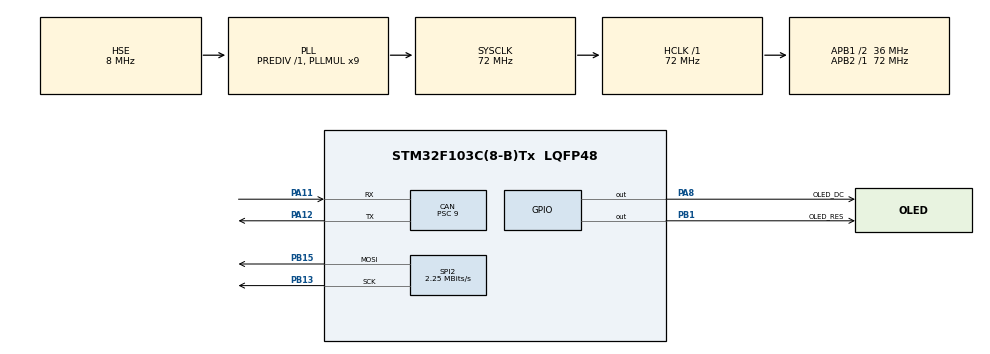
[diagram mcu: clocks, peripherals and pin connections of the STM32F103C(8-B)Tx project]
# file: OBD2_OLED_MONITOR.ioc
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CAN.BS1=CAN_BS1_3TQ
CAN.BS2=CAN_BS2_4TQ
CAN.CalculateBaudRate=500000
CAN.CalculateTimeBit=2000
CAN.CalculateTimeQuantum=250.0
CAN.Prescaler=9
CAN.TXFP=ENABLE
Mcu.Family=STM32F1
Mcu.Name=STM32F103C(8-B)Tx
Mcu.Package=LQFP48
NVIC.PriorityGroup=NVIC_PRIORITYGROUP_4
NVIC.TIM2_IRQn=true\:0\:0\:false\:false\:true\:true\:true\:true
NVIC.USB_HP_CAN1_TX_IRQn=true\:0\:0\:false\:false\:true\:true\:true\:true
NVIC.USB_LP_CAN1_RX0_IRQn=true\:0\:0\:false\:false\:true\:true\:true\:true
PA11.Mode=CAN_Activate
PA11.Signal=CAN_RX
PA12.Mode=CAN_Activate
PA12.Signal=CAN_TX
PA13.Mode=Trace_Asynchronous_SW
PA13.Signal=SYS_JTMS-SWDIO
PA14.Mode=Trace_Asynchronous_SW
PA14.Signal=SYS_JTCK-SWCLK
PA8.GPIO_Label=OLED_DC
PA8.Signal=GPIO_Output
PB1.GPIO_Label=OLED_RES
PB1.Signal=GPIO_Output
PB13.Mode=TX_Only_Simplex_Unidirect_Master
PB13.Signal=SPI2_SCK
PB15.Mode=TX_Only_Simplex_Unidirect_Master
PB15.Signal=SPI2_MOSI
PB3.Mode=Trace_Asynchronous_SW
PB3.Signal=SYS_JTDO-TRACESWO
PD0-OSC_IN.Mode=HSE-External-Oscillator
PD0-OSC_IN.Signal=RCC_OSC_IN
PD1-OSC_OUT.Mode=HSE-External-Oscillator
PD1-OSC_OUT.Signal=RCC_OSC_OUT
ProjectManager.HeapSize=0x200
ProjectManager.StackSize=0x400
ProjectManager.TargetToolchain=STM32CubeIDE
RCC.AHBFreq_Value=72000000
RCC.APB1CLKDivider=RCC_HCLK_DIV2
RCC.APB1Freq_Value=36000000
RCC.APB1TimFreq_Value=72000000
RCC.APB2Freq_Value=72000000
RCC.APB2TimFreq_Value=72000000
RCC.HCLKFreq_Value=72000000
RCC.PLLMUL=RCC_PLL_MUL9
RCC.PLLSourceVirtual=RCC_PLLSOURCE_HSE
RCC.SYSCLKFreq_VALUE=72000000
RCC.SYSCLKSource=RCC_SYSCLKSOURCE_PLLCLK
RCC.USBFreq_Value=72000000
SPI2.BaudRatePrescaler=SPI_BAUDRATEPRESCALER_16
SPI2.CalculateBaudRate=2.25 MBits/s
SPI2.Direction=SPI_DIRECTION_2LINES
SPI2.Mode=SPI_MODE_MASTER
SPI2.VirtualType=VM_MASTER
TIM2.AutoReloadPreload=TIM_AUTORELOAD_PRELOAD_ENABLE
TIM2.Period=50000
TIM2.Prescaler=719
VP_TIM2_VS_ClockSourceINT.Mode=Internal
board=custom

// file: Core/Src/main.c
/* USER CODE BEGIN Header */
/**
  ******************************************************************************
  * @file           : main.c
  * @brief          : Main program body
  ******************************************************************************
  * @attention
  *
  * Copyright (c) 2024 STMicroelectronics.
  * All rights reserved.
  *
  * This software is licensed under terms that can be found in the LICENSE file
  * in the root directory of this software component.
  * If no LICENSE file comes with this software, it is provided AS-IS.
  *
  ******************************************************************************
  */
/* USER CODE END Header */
#include "main.h"

/* USER CODE BEGIN Includes */
#include <string.h>
#include <math.h>
#include <stdlib.h>
#include "obd2.h"
#include "printf.h"
#include "global_vars.h"
/* USER CODE END Includes */

CAN_HandleTypeDef hcan;

SPI_HandleTypeDef hspi2;

TIM_HandleTypeDef htim2;

/* USER CODE BEGIN PV */
u8g2_t u8g2;
Bool OBD2_NEED_NEXT_REQUEST = TRUE;
/* USER CODE END PV */

void SystemClock_Config(void);
static void MX_GPIO_Init(void);
static void MX_CAN_Init(void);
static void MX_SPI2_Init(void);
static void MX_TIM2_Init(void);
/* USER CODE BEGIN PFP */

void valueHandler(uint8_t index, int16_t value);
/* USER CODE END PFP */

/* USER CODE BEGIN 0 */
void _putchar(char character)
{
  // send char to console etc.
	ITM_SendChar(character);
}
/* USER CODE END 0 */

int main(void)
{

  /* MCU Configuration--------------------------------------------------------*/

  /* Reset of all peripherals, Initializes the Flash interface and the Systick. */
  HAL_Init();

  /* Configure the system clock */
  SystemClock_Config();

  /* Initialize all configured peripherals */
  MX_GPIO_Init();
  MX_CAN_Init();
  MX_SPI2_Init();
  MX_TIM2_Init();
  /* USER CODE BEGIN 2 */
  CAN_FilterTypeDef canFilterConfig;
  canFilterConfig.FilterBank = 0;
  canFilterConfig.FilterMode = CAN_FILTERMODE_IDMASK;
  canFilterConfig.FilterScale = CAN_FILTERSCALE_32BIT;
  canFilterConfig.FilterIdHigh = 0x07E8<<5; // Filter IDs from 0x7E8
  canFilterConfig.FilterIdLow = 0x0000;
  canFilterConfig.FilterMaskIdHigh = 0x07FE<<5; // Filter IDs 0x7E8, 0x7E9 (Engine, Transmission)
  canFilterConfig.FilterMaskIdLow = 0x0000;
  canFilterConfig.FilterFIFOAssignment = CAN_RX_FIFO0;
  canFilterConfig.FilterActivation = ENABLE;
  canFilterConfig.SlaveStartFilterBank = 14;
  HAL_CAN_ConfigFilter(&hcan, &canFilterConfig);
  HAL_CAN_Start(&hcan);
  HAL_CAN_ActivateNotification(&hcan, CAN_IT_RX_FIFO0_MSG_PENDING);
  HAL_TIM_Base_Start_IT(&htim2);

  if (DISPLAY == SSD1322) {
	  u8g2_Setup_ssd1322_nhd_256x64_f(&u8g2, U8G2_R0, u8x8_byte_4wire_hw_spi, u8x8_stm32_gpio_and_delay);
  }
  else if (DISPLAY == SD1122) {
	  u8g2_Setup_sh1122_256x64_f(&u8g2, U8G2_R0, u8x8_byte_4wire_hw_spi, u8x8_stm32_gpio_and_delay); //
  }

  u8g2_InitDisplay(&u8g2);
  u8g2_SetPowerSave(&u8g2, 0);

  printf("START\n");

  u8g2_ClearBuffer(&u8g2);
  u8g2_DrawXBM(&u8g2, 0, 0, 256, 64, Logo);
  u8g2_SendBuffer(&u8g2);
  /* USER CODE END 2 */

  /* Infinite loop */
  while (1)
  {

    /* USER CODE BEGIN 3 */

	if (OBD2_NEED_NEXT_REQUEST) {
		OBD2_NEED_NEXT_REQUEST = FALSE;
		HAL_Delay(2);
		obd2_NextRequest();
	}
  }
  /* USER CODE END 3 */
}

void SystemClock_Config(void)
{
  RCC_OscInitTypeDef RCC_OscInitStruct = {0};
  RCC_ClkInitTypeDef RCC_ClkInitStruct = {0};

  /** Initializes the RCC Oscillators according to the specified parameters
  * in the RCC_OscInitTypeDef structure.
  */
  RCC_OscInitStruct.OscillatorType = RCC_OSCILLATORTYPE_HSE;
  RCC_OscInitStruct.HSEState = RCC_HSE_ON;
  RCC_OscInitStruct.HSEPredivValue = RCC_HSE_PREDIV_DIV1;
  RCC_OscInitStruct.HSIState = RCC_HSI_ON;
  RCC_OscInitStruct.PLL.PLLState = RCC_PLL_ON;
  RCC_OscInitStruct.PLL.PLLSource = RCC_PLLSOURCE_HSE;
  RCC_OscInitStruct.PLL.PLLMUL = RCC_PLL_MUL9;
  if (HAL_RCC_OscConfig(&RCC_OscInitStruct) != HAL_OK)
  {
    Error_Handler();
  }

  /** Initializes the CPU, AHB and APB buses clocks
  */
  RCC_ClkInitStruct.ClockType = RCC_CLOCKTYPE_HCLK|RCC_CLOCKTYPE_SYSCLK
                              |RCC_CLOCKTYPE_PCLK1|RCC_CLOCKTYPE_PCLK2;
  RCC_ClkInitStruct.SYSCLKSource = RCC_SYSCLKSOURCE_PLLCLK;
  RCC_ClkInitStruct.AHBCLKDivider = RCC_SYSCLK_DIV1;
  RCC_ClkInitStruct.APB1CLKDivider = RCC_HCLK_DIV2;
  RCC_ClkInitStruct.APB2CLKDivider = RCC_HCLK_DIV1;

  if (HAL_RCC_ClockConfig(&RCC_ClkInitStruct, FLASH_LATENCY_2) != HAL_OK)
  {
    Error_Handler();
  }
}

static void MX_CAN_Init(void)
{

  hcan.Instance = CAN1;
  hcan.Init.Prescaler = 9;
  hcan.Init.Mode = CAN_MODE_NORMAL;
  hcan.Init.SyncJumpWidth = CAN_SJW_1TQ;
  hcan.Init.TimeSeg1 = CAN_BS1_3TQ;
  hcan.Init.TimeSeg2 = CAN_BS2_4TQ;
  hcan.Init.TimeTriggeredMode = DISABLE;
  hcan.Init.AutoBusOff = DISABLE;
  hcan.Init.AutoWakeUp = DISABLE;
  hcan.Init.AutoRetransmission = DISABLE;
  hcan.Init.ReceiveFifoLocked = DISABLE;
  hcan.Init.TransmitFifoPriority = ENABLE;
  if (HAL_CAN_Init(&hcan) != HAL_OK)
  {
    Error_Handler();
  }

}

static void MX_SPI2_Init(void)
{

  /* SPI2 parameter configuration*/
  hspi2.Instance = SPI2;
  hspi2.Init.Mode = SPI_MODE_MASTER;
  hspi2.Init.Direction = SPI_DIRECTION_2LINES;
  hspi2.Init.DataSize = SPI_DATASIZE_8BIT;
  hspi2.Init.CLKPolarity = SPI_POLARITY_LOW;
  hspi2.Init.CLKPhase = SPI_PHASE_1EDGE;
  hspi2.Init.NSS = SPI_NSS_SOFT;
  hspi2.Init.BaudRatePrescaler = SPI_BAUDRATEPRESCALER_16;
  hspi2.Init.FirstBit = SPI_FIRSTBIT_MSB;
  hspi2.Init.TIMode = SPI_TIMODE_DISABLE;
  hspi2.Init.CRCCalculation = SPI_CRCCALCULATION_DISABLE;
  hspi2.Init.CRCPolynomial = 10;
  if (HAL_SPI_Init(&hspi2) != HAL_OK)
  {
    Error_Handler();
  }

}

static void MX_TIM2_Init(void)
{

  TIM_ClockConfigTypeDef sClockSourceConfig = {0};
  TIM_MasterConfigTypeDef sMasterConfig = {0};

  htim2.Instance = TIM2;
  htim2.Init.Prescaler = 719;
  htim2.Init.CounterMode = TIM_COUNTERMODE_UP;
  htim2.Init.Period = 50000;
  htim2.Init.ClockDivision = TIM_CLOCKDIVISION_DIV1;
  htim2.Init.AutoReloadPreload = TIM_AUTORELOAD_PRELOAD_ENABLE;
  if (HAL_TIM_Base_Init(&htim2) != HAL_OK)
  {
    Error_Handler();
  }
  sClockSourceConfig.ClockSource = TIM_CLOCKSOURCE_INTERNAL;
  if (HAL_TIM_ConfigClockSource(&htim2, &sClockSourceConfig) != HAL_OK)
  {
    Error_Handler();
  }
  sMasterConfig.MasterOutputTrigger = TIM_TRGO_RESET;
  sMasterConfig.MasterSlaveMode = TIM_MASTERSLAVEMODE_DISABLE;
  if (HAL_TIMEx_MasterConfigSynchronization(&htim2, &sMasterConfig) != HAL_OK)
  {
    Error_Handler();
  }

}

static void MX_GPIO_Init(void)
{
  GPIO_InitTypeDef GPIO_InitStruct = {0};

  /* GPIO Ports Clock Enable */
  __HAL_RCC_GPIOD_CLK_ENABLE();
  __HAL_RCC_GPIOB_CLK_ENABLE();
  __HAL_RCC_GPIOA_CLK_ENABLE();

  /*Configure GPIO pin Output Level */
  HAL_GPIO_WritePin(OLED_RES_GPIO_Port, OLED_RES_Pin, GPIO_PIN_RESET);

  /*Configure GPIO pin Output Level */
  HAL_GPIO_WritePin(OLED_DC_GPIO_Port, OLED_DC_Pin, GPIO_PIN_RESET);

  /*Configure GPIO pin : OLED_RES_Pin */
  GPIO_InitStruct.Pin = OLED_RES_Pin;
  GPIO_InitStruct.Mode = GPIO_MODE_OUTPUT_PP;
  GPIO_InitStruct.Pull = GPIO_NOPULL;
  GPIO_InitStruct.Speed = GPIO_SPEED_FREQ_LOW;
  HAL_GPIO_Init(OLED_RES_GPIO_Port, &GPIO_InitStruct);

  /*Configure GPIO pin : OLED_DC_Pin */
  GPIO_InitStruct.Pin = OLED_DC_Pin;
  GPIO_InitStruct.Mode = GPIO_MODE_OUTPUT_PP;
  GPIO_InitStruct.Pull = GPIO_NOPULL;
  GPIO_InitStruct.Speed = GPIO_SPEED_FREQ_LOW;
  HAL_GPIO_Init(OLED_DC_GPIO_Port, &GPIO_InitStruct);

}

/* USER CODE BEGIN 4 */
// Timer interrupt every 0.5 seconds
void HAL_TIM_PeriodElapsedCallback(TIM_HandleTypeDef* htim2)
{
	// If there is no response for more than 0.5 second, then make the next request
	if (obd2_getLastRequestTime() + 500 < HAL_GetTick()) {
		OBD2_NEED_NEXT_REQUEST = TRUE;
	}
}

// Receive CAN packet
void HAL_CAN_RxFifo0MsgPendingCallback(CAN_HandleTypeDef *hcan)
{
	uint8_t RxData[8];
	CAN_RxHeaderTypeDef	RxHeader;
	HAL_CAN_GetRxMessage(hcan, CAN_RX_FIFO0, &RxHeader, RxData);

	#ifdef DEBUG
	printf("%08lu RxData: %03lX [%lu] ",HAL_GetTick(), RxHeader.StdId, RxHeader.DLC);
	for (int i = 0; i < RxHeader.DLC; i++) {
		printf("%02X ",RxData[i]);
	}
	printf("\n");
	#endif

	// Check Engine Response ID
	if (RxHeader.StdId == 0x7E8) {
		obd2_Handler(RxData, GET_SIZE(RxData));
	}

}
// Oled display function
uint8_t u8x8_stm32_gpio_and_delay(U8X8_UNUSED u8x8_t *u8x8, U8X8_UNUSED uint8_t msg, U8X8_UNUSED uint8_t arg_int, U8X8_UNUSED void *arg_ptr)
{
  switch (msg)
  {
  case U8X8_MSG_GPIO_AND_DELAY_INIT:
    HAL_Delay(1);
    break;
  case U8X8_MSG_DELAY_MILLI:
    HAL_Delay(arg_int);
    break;
  case U8X8_MSG_GPIO_DC:
    HAL_GPIO_WritePin(OLED_DC_GPIO_Port, OLED_DC_Pin, arg_int);
    break;
  case U8X8_MSG_GPIO_RESET:
    HAL_GPIO_WritePin(OLED_RES_GPIO_Port, OLED_RES_Pin, arg_int);
    break;
  }
  return 1;
}

// Oled display function
uint8_t u8x8_byte_4wire_hw_spi(u8x8_t *u8x8, uint8_t msg, uint8_t arg_int, void *arg_ptr)
{
  switch (msg)
  {
  case U8X8_MSG_BYTE_SEND:
    HAL_SPI_Transmit(&hspi2, (uint8_t *) arg_ptr, arg_int, 10000);
    break;
  case U8X8_MSG_BYTE_INIT:
    break;
  case U8X8_MSG_BYTE_SET_DC:
    HAL_GPIO_WritePin(OLED_DC_GPIO_Port, OLED_DC_Pin, arg_int);
    break;
  case U8X8_MSG_BYTE_START_TRANSFER:
    break;
  case U8X8_MSG_BYTE_END_TRANSFER:
    break;
  default:
    return 0;
  }
  return 1;
}

void valueHandler(uint8_t index, int16_t value) {
	printf("%i - %i\n", index, value);
	display_UpdateElement(&u8g2, index, value);
	OBD2_NEED_NEXT_REQUEST = TRUE;
}

/* USER CODE END 4 */

void Error_Handler(void)
{
  __disable_irq();
  while (1)
  {
  }
}
